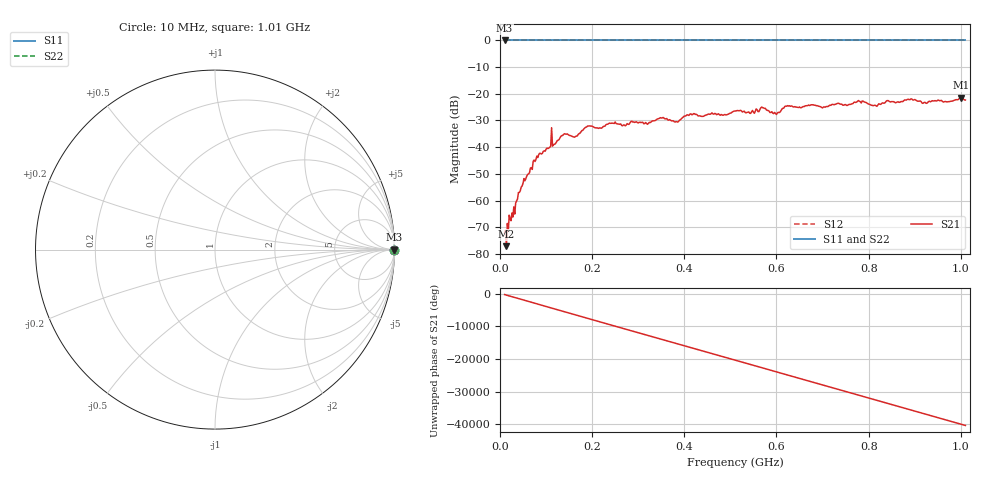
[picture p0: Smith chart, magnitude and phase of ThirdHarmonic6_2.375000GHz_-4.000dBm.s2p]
! 8/17/2025 3:44:31 AM
! C:\ANRITSUVNA\TEMP\TEMP.S2P
! CHANNEL.1
! TR.MEASUREMENT
! RAW.DATA
! RF.CORRECTION.OFF
! AVERAGING.OFF
! IF.BANDWIDTH: 5KHZ
! SWEEPTYPE:  FREQ.SWEEP(Linear)
! Reference Plane Port Info
! PORT:  PORT1  PORT2
! DISTANCE:  0  m  0  m
! TIME:  0  s  0  s
! PHASE.OFFSET:  0  deg.  0  deg.
! LOSS:  0  dB  0  dB
! REF.LOSS:  0  dB  0  dB
! REF.FREQ:  0  Hz  0  Hz
! Power Info
! POWER:  -20  dBm  -20  dBm
! EFF.POWER:  -20  dBm  -20  dBm
! SOURCE.ATTEN:  0  dB  0  dB
! TEST.ATTEN:  0  dB  0  dB
# GHZ S RI R 50.0
! FREQ.GHZ  S11RE  S11IM  S21RE  S21IM  S12RE  S12IM  S22RE  S22IM
!; PortSelection: Port_12
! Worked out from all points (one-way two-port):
!   501 points, 10 MHz to 1.01 GHz, reference 50 ohm
!   highest |S21| = -21.49 dB at 1 GHz (marker M1); lowest = -77.1 dB at 14 MHz (marker M2)
!   lowest |S11| = 0.0 dB at 10 MHz (marker M3)
!   |S11| at or under -10 dB: nowhere
!   |S22| runs from 0.0 to 0.0 dB; largest |S21 - S12| = 1.1
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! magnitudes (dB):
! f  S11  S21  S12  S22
! 10 MHz  0.0  -72.2  0.0  0.0
! 14 MHz  0.0  -77.1  0.0  0.0
! 44 MHz  0.0  -56.4  0.0  0.0
! 76 MHz  0.0  -45.4  0.0  0.0
! 136 MHz  0.0  -35.6  0.0  0.0
! 164 MHz  0.0  -36.0  0.0  0.0
! 178 MHz  0.0  -33.8  0.0  0.0
! 194 MHz  0.0  -32.0  0.0  0.0
! 318 MHz  0.0  -31.1  0.0  0.0
! 344 MHz  0.0  -29.3  0.0  0.0
! 382 MHz  0.0  -30.4  0.0  0.0
! 410 MHz  0.0  -28.1  0.0  0.0
! 510 MHz  0.0  -26.5  0.0  0.0
! 570 MHz  0.0  -25.2  0.0  0.0
! 598 MHz  0.0  -27.4  0.0  0.0
! 622 MHz  0.0  -24.7  0.0  0.0
! 678 MHz  0.0  -24.1  0.0  0.0
! 778 MHz  0.0  -22.5  0.0  0.0
! 814 MHz  0.0  -24.3  0.0  0.0
! 844 MHz  0.0  -22.8  0.0  0.0
! 1 GHz  0.0  -21.5  0.0  0.0
! 1.01 GHz  0.0  -22.3  0.0  0.0
